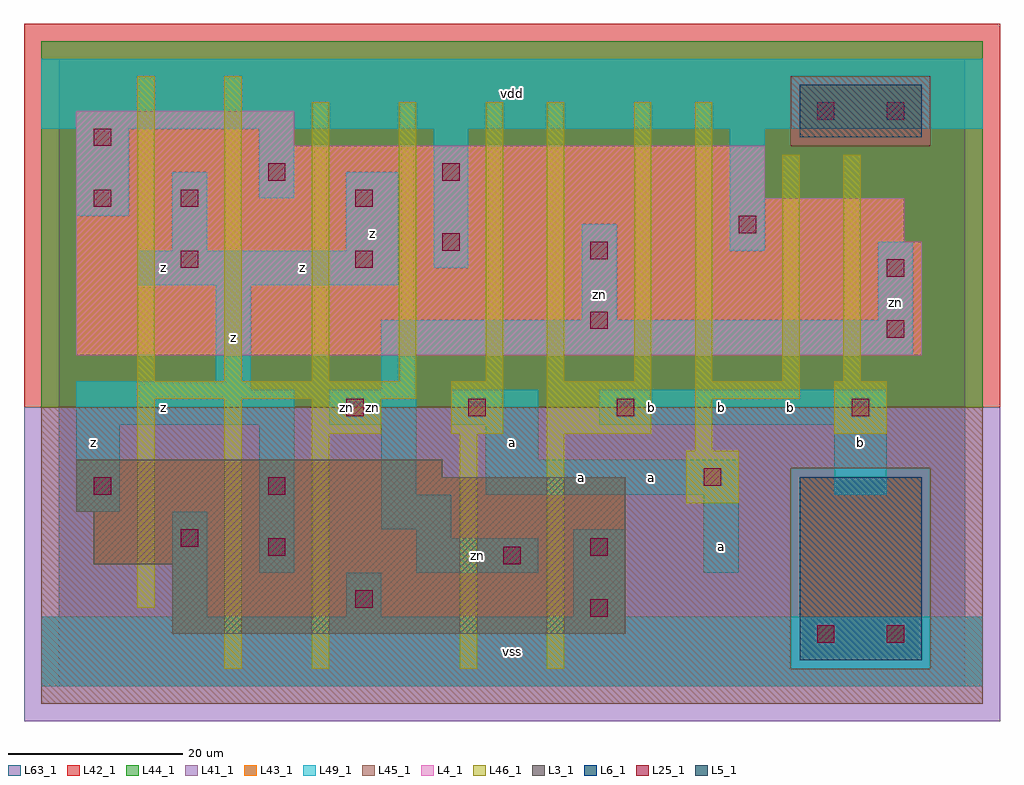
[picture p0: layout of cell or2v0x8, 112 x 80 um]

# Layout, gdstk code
import gdstk
lib = gdstk.Library(unit=1e-6, precision=1e-09)
def R(c, l, rs):  # rectangles x0, y0, x1, y1
    for r in rs: c.add(gdstk.rectangle(r[:2], r[2:], *l))
def A(c, l, x, y, w, h, nx, ny, dx, dy):  # array of equal rectangles
    R(c, l, [(x+i*dx, y+j*dy, x+i*dx+w, y+j*dy+h) for i in range(nx) for j in range(ny)])
L3_1 = (3, 1)
L4_1 = (4, 1)
L5_1 = (5, 1)
L6_1 = (6, 1)
L25_1 = (25, 1)
L41_1 = (41, 1)
L42_1 = (42, 1)
L43_1 = (43, 1)
L44_1 = (44, 1)
L45_1 = (45, 1)
L46_1 = (46, 1)
L49_1 = (49, 1)
L63_1 = (63, 1)

or2v0x8 = lib.new_cell('or2v0x8')
R(or2v0x8, L3_1, [(13,6,65,14), (4,14,65,20), (2,20,65,24), (2,24,44,26)])
R(or2v0x8, L4_1, [(2,38,99,51), (2,51,97,56), (2,56,81,62), (2,62,27,66)])
R(or2v0x8, L5_1, [(85,63,99,69)])
R(or2v0x8, L6_1, [(85,3,99,24), (85,3,99,24)])
R(or2v0x8, L25_1, [(87,5,89,7), (95,5,97,7), (61,8,63,10), (34,9,36,11), (51,14,53,16), (24,15,26,17), (61,15,63,17), (14,16,16,18), (4,22,6,24), (24,22,26,24), (74,23,76,25), (33,31,35,33), (47,31,49,33), (64,31,66,33), (91,31,93,33), (95,40,97,42), (61,41,63,43), (95,47,97,49), (14,48,16,50), (34,48,36,50), (61,49,63,51), (44,50,46,52), (78,52,80,54), (4,55,6,57), (14,55,16,57), (34,55,36,57), (24,58,26,60), (44,58,46,60), (4,62,6,64), (87,65,89,67), (95,65,97,67)])
R(or2v0x8, L41_1, [(-4,-4,108,32)])
R(or2v0x8, L42_1, [(-4,32,108,76)])
R(or2v0x8, L43_1, [(85,3,99,24), (13,6,65,14), (4,14,65,20), (2,20,65,24), (2,24,44,26), (2,38,99,51), (2,51,97,56), (2,56,81,62), (2,62,27,66), (85,63,99,69)])
R(or2v0x8, L44_1, [(84,2,100,25), (-2,32,106,62), (-2,62,84,70), (100,62,106,70), (-2,70,106,74)])
R(or2v0x8, L45_1, [(-2,-2,106,2), (-2,2,84,25), (100,2,106,25), (-2,25,106,32), (84,62,100,70)])
A(or2v0x8, L46_1, 29, 35, 2, 32, 3, 1, 10, 0)
R(or2v0x8, L46_1, [(19,2,21,33), (29,2,31,29), (46,2,48,29), (56,2,58,29), (9,9,11,33), (72,21,78,27), (73,27,75,33), (29,29,37,33), (45,29,51,35), (56,29,68,35), (89,29,95,35), (9,33,41,35), (73,33,85,35), (9,35,11,70), (19,35,21,70), (56,35,58,67), (66,35,68,67), (73,35,75,67), (83,35,85,61), (90,35,92,61)])
R(or2v0x8, L49_1, [(-2,0,106,8), (13,8,17,20), (33,8,37,13), (59,8,65,18), (23,13,27,30), (41,13,55,17), (74,13,78,22), (41,17,45,18), (37,18,45,22), (2,20,7,30), (37,22,41,30), (49,22,78,26), (89,22,95,30), (49,26,55,30), (2,30,27,34), (31,30,41,34), (45,30,55,34), (62,30,95,34), (2,34,22,35), (37,34,41,38), (18,35,22,46), (37,38,98,42), (60,42,64,53), (94,42,98,51), (9,46,39,50), (43,48,47,64), (13,50,17,59), (33,50,39,59), (77,50,81,64), (2,54,8,64), (23,56,27,64), (-2,64,106,72)])
R(or2v0x8, L63_1, [(0,0,104,72)])
or2v0x8.add(gdstk.Label('zn', (33,32), layer=49, texttype=1))
or2v0x8.add(gdstk.Label('z', (12,32), layer=49, texttype=1))
or2v0x8.add(gdstk.Label('z', (4,28), layer=49, texttype=1))
or2v0x8.add(gdstk.Label('z', (12,48), layer=49, texttype=1))
or2v0x8.add(gdstk.Label('z', (20,40), layer=49, texttype=1))
or2v0x8.add(gdstk.Label('z', (36,52), layer=49, texttype=1))
or2v0x8.add(gdstk.Label('z', (28,48), layer=49, texttype=1))
or2v0x8.add(gdstk.Label('vss', (52,4), layer=49, texttype=1))
or2v0x8.add(gdstk.Label('zn', (48,15), layer=49, texttype=1))
or2v0x8.add(gdstk.Label('a', (60,24), layer=49, texttype=1))
or2v0x8.add(gdstk.Label('a', (52,28), layer=49, texttype=1))
or2v0x8.add(gdstk.Label('zn', (36,32), layer=49, texttype=1))
or2v0x8.add(gdstk.Label('vdd', (52,68), layer=49, texttype=1))
or2v0x8.add(gdstk.Label('a', (76,16), layer=49, texttype=1))
or2v0x8.add(gdstk.Label('a', (68,24), layer=49, texttype=1))
or2v0x8.add(gdstk.Label('b', (68,32), layer=49, texttype=1))
or2v0x8.add(gdstk.Label('b', (76,32), layer=49, texttype=1))
or2v0x8.add(gdstk.Label('zn', (62,45), layer=49, texttype=1))
or2v0x8.add(gdstk.Label('b', (92,28), layer=49, texttype=1))
or2v0x8.add(gdstk.Label('b', (84,32), layer=49, texttype=1))
or2v0x8.add(gdstk.Label('zn', (96,44), layer=49, texttype=1))

lib.write_gds('or2v0x8.gds')
